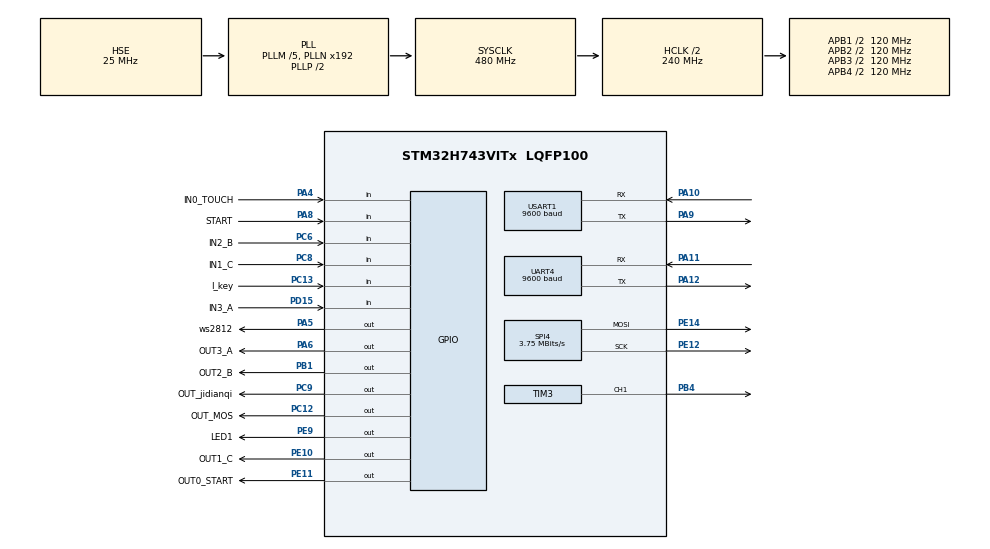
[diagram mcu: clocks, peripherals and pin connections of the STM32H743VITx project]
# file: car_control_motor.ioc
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CORTEX_M7.default_mode_Activation=1
Dma.Request0=USART1_RX
Dma.Request1=USART1_TX
Dma.Request2=SPI4_TX
Dma.Request3=UART4_RX
Dma.Request4=UART4_TX
Dma.SPI4_TX.2.Direction=DMA_MEMORY_TO_PERIPH
Dma.SPI4_TX.2.EventEnable=DISABLE
Dma.SPI4_TX.2.FIFOMode=DMA_FIFOMODE_DISABLE
Dma.SPI4_TX.2.Instance=DMA1_Stream2
Dma.SPI4_TX.2.MemDataAlignment=DMA_MDATAALIGN_BYTE
Dma.SPI4_TX.2.MemInc=DMA_MINC_ENABLE
Dma.SPI4_TX.2.Mode=DMA_NORMAL
Dma.SPI4_TX.2.PeriphDataAlignment=DMA_PDATAALIGN_BYTE
Dma.SPI4_TX.2.PeriphInc=DMA_PINC_DISABLE
Dma.SPI4_TX.2.Polarity=HAL_DMAMUX_REQ_GEN_RISING
Dma.SPI4_TX.2.Priority=DMA_PRIORITY_VERY_HIGH
Dma.SPI4_TX.2.RequestNumber=1
Dma.SPI4_TX.2.SignalID=NONE
Dma.SPI4_TX.2.SyncEnable=DISABLE
Dma.SPI4_TX.2.SyncPolarity=HAL_DMAMUX_SYNC_NO_EVENT
Dma.SPI4_TX.2.SyncRequestNumber=1
Dma.SPI4_TX.2.SyncSignalID=NONE
Dma.UART4_RX.3.Direction=DMA_PERIPH_TO_MEMORY
Dma.UART4_RX.3.EventEnable=DISABLE
Dma.UART4_RX.3.FIFOMode=DMA_FIFOMODE_DISABLE
Dma.UART4_RX.3.Instance=DMA1_Stream3
Dma.UART4_RX.3.MemDataAlignment=DMA_MDATAALIGN_BYTE
Dma.UART4_RX.3.MemInc=DMA_MINC_ENABLE
Dma.UART4_RX.3.Mode=DMA_NORMAL
Dma.UART4_RX.3.PeriphDataAlignment=DMA_PDATAALIGN_BYTE
Dma.UART4_RX.3.PeriphInc=DMA_PINC_DISABLE
Dma.UART4_RX.3.Polarity=HAL_DMAMUX_REQ_GEN_RISING
Dma.UART4_RX.3.Priority=DMA_PRIORITY_LOW
Dma.UART4_RX.3.RequestNumber=1
Dma.UART4_RX.3.SignalID=NONE
Dma.UART4_RX.3.SyncEnable=DISABLE
Dma.UART4_RX.3.SyncPolarity=HAL_DMAMUX_SYNC_NO_EVENT
Dma.UART4_RX.3.SyncRequestNumber=1
Dma.UART4_RX.3.SyncSignalID=NONE
Dma.UART4_TX.4.Direction=DMA_MEMORY_TO_PERIPH
Dma.UART4_TX.4.EventEnable=DISABLE
Dma.UART4_TX.4.FIFOMode=DMA_FIFOMODE_DISABLE
Dma.UART4_TX.4.Instance=DMA1_Stream4
Dma.UART4_TX.4.MemDataAlignment=DMA_MDATAALIGN_BYTE
Dma.UART4_TX.4.MemInc=DMA_MINC_ENABLE
Dma.UART4_TX.4.Mode=DMA_NORMAL
Dma.UART4_TX.4.PeriphDataAlignment=DMA_PDATAALIGN_BYTE
Dma.UART4_TX.4.PeriphInc=DMA_PINC_DISABLE
Dma.UART4_TX.4.Polarity=HAL_DMAMUX_REQ_GEN_RISING
Dma.UART4_TX.4.Priority=DMA_PRIORITY_LOW
Dma.UART4_TX.4.RequestNumber=1
Dma.UART4_TX.4.SignalID=NONE
Dma.UART4_TX.4.SyncEnable=DISABLE
Dma.UART4_TX.4.SyncPolarity=HAL_DMAMUX_SYNC_NO_EVENT
Dma.UART4_TX.4.SyncRequestNumber=1
Dma.UART4_TX.4.SyncSignalID=NONE
Dma.USART1_RX.0.Direction=DMA_PERIPH_TO_MEMORY
Dma.USART1_RX.0.EventEnable=DISABLE
Dma.USART1_RX.0.FIFOMode=DMA_FIFOMODE_DISABLE
Dma.USART1_RX.0.Instance=DMA1_Stream0
Dma.USART1_RX.0.MemDataAlignment=DMA_MDATAALIGN_BYTE
Dma.USART1_RX.0.MemInc=DMA_MINC_ENABLE
Dma.USART1_RX.0.Mode=DMA_NORMAL
Dma.USART1_RX.0.PeriphDataAlignment=DMA_PDATAALIGN_BYTE
Dma.USART1_RX.0.PeriphInc=DMA_PINC_DISABLE
Dma.USART1_RX.0.Polarity=HAL_DMAMUX_REQ_GEN_RISING
Dma.USART1_RX.0.Priority=DMA_PRIORITY_LOW
Dma.USART1_RX.0.RequestNumber=1
Dma.USART1_RX.0.SignalID=NONE
Dma.USART1_RX.0.SyncEnable=DISABLE
Dma.USART1_RX.0.SyncPolarity=HAL_DMAMUX_SYNC_NO_EVENT
Dma.USART1_RX.0.SyncRequestNumber=1
Dma.USART1_RX.0.SyncSignalID=NONE
Dma.USART1_TX.1.Direction=DMA_MEMORY_TO_PERIPH
Dma.USART1_TX.1.EventEnable=DISABLE
Dma.USART1_TX.1.FIFOMode=DMA_FIFOMODE_DISABLE
Dma.USART1_TX.1.Instance=DMA1_Stream1
Dma.USART1_TX.1.MemDataAlignment=DMA_MDATAALIGN_BYTE
Dma.USART1_TX.1.MemInc=DMA_MINC_ENABLE
Dma.USART1_TX.1.Mode=DMA_NORMAL
Dma.USART1_TX.1.PeriphDataAlignment=DMA_PDATAALIGN_BYTE
Dma.USART1_TX.1.PeriphInc=DMA_PINC_DISABLE
Dma.USART1_TX.1.Polarity=HAL_DMAMUX_REQ_GEN_RISING
Dma.USART1_TX.1.Priority=DMA_PRIORITY_LOW
Dma.USART1_TX.1.RequestNumber=1
Dma.USART1_TX.1.SignalID=NONE
Dma.USART1_TX.1.SyncEnable=DISABLE
Dma.USART1_TX.1.SyncPolarity=HAL_DMAMUX_SYNC_NO_EVENT
Dma.USART1_TX.1.SyncRequestNumber=1
Dma.USART1_TX.1.SyncSignalID=NONE
Mcu.Family=STM32H7
Mcu.Name=STM32H743VITx
Mcu.Package=LQFP100
NVIC.DMA1_Stream0_IRQn=true\:0\:0\:false\:false\:true\:false\:true\:true
NVIC.DMA1_Stream1_IRQn=true\:0\:0\:false\:false\:true\:false\:true\:true
NVIC.DMA1_Stream2_IRQn=true\:0\:0\:false\:false\:true\:false\:true\:true
NVIC.DMA1_Stream3_IRQn=true\:0\:0\:false\:false\:true\:false\:true\:true
NVIC.DMA1_Stream4_IRQn=true\:0\:0\:false\:false\:true\:false\:true\:true
NVIC.PriorityGroup=NVIC_PRIORITYGROUP_4
NVIC.SPI4_IRQn=true\:0\:0\:false\:false\:true\:false\:true\:true
NVIC.UART4_IRQn=true\:0\:0\:false\:false\:true\:true\:true\:true
NVIC.USART1_IRQn=true\:0\:0\:false\:false\:true\:true\:true\:true
PA10.Mode=Asynchronous
PA10.Signal=USART1_RX
PA11.Mode=Asynchronous
PA11.Signal=UART4_RX
PA12.Mode=Asynchronous
PA12.Signal=UART4_TX
PA13\ (JTMS/SWDIO).Mode=Serial_Wire
PA13\ (JTMS/SWDIO).Signal=DEBUG_JTMS-SWDIO
PA14\ (JTCK/SWCLK).Mode=Serial_Wire
PA14\ (JTCK/SWCLK).Signal=DEBUG_JTCK-SWCLK
PA5.GPIO_Label=ws2812
PA5.GPIO_PuPd=GPIO_PULLDOWN
PA5.PinState=GPIO_PIN_RESET
PA5.Signal=GPIO_Output
PA6.GPIO_Label=OUT3_A
PA6.GPIO_PuPd=GPIO_PULLDOWN
PA6.Signal=GPIO_Output
PA8.GPIO_Label=START
PA8.GPIO_PuPd=GPIO_PULLUP
PA8.Signal=GPIO_Input
PA9.Mode=Asynchronous
PA9.Signal=USART1_TX
PB1.GPIO_Label=OUT2_B
PB1.GPIO_PuPd=GPIO_PULLDOWN
PB1.Signal=GPIO_Output
PB4\ (NJTRST).Signal=S_TIM3_CH1
PC12.GPIO_Label=OUT_MOS
PC12.GPIO_PuPd=GPIO_PULLDOWN
PC12.Signal=GPIO_Output
PC13.GPIO_Label=l_key
PC13.GPIO_PuPd=GPIO_PULLUP
PC13.Signal=GPIO_Input
PC14-OSC32_IN\ (OSC32_IN).Mode=LSE-External-Oscillator
PC14-OSC32_IN\ (OSC32_IN).Signal=RCC_OSC32_IN
PC15-OSC32_OUT\ (OSC32_OUT).Mode=LSE-External-Oscillator
PC15-OSC32_OUT\ (OSC32_OUT).Signal=RCC_OSC32_OUT
PC6.GPIO_Label=IN2_B
PC6.GPIO_PuPd=GPIO_PULLUP
PC6.Signal=GPIO_Input
PA4.GPIO_Label=IN0_TOUCH
PA4.GPIO_PuPd=GPIO_PULLUP
PA4.Signal=GPIO_Input
PC8.GPIO_Label=IN1_C
PC8.GPIO_PuPd=GPIO_PULLUP
PC8.Signal=GPIO_Input
PC9.GPIO_Label=OUT_jidianqi
PC9.GPIO_PuPd=GPIO_PULLDOWN
PC9.Signal=GPIO_Output
PD15.GPIO_Label=IN3_A
PD15.GPIO_PuPd=GPIO_PULLUP
PD15.Signal=GPIO_Input
PE10.GPIO_Label=OUT1_C
PE10.GPIO_PuPd=GPIO_PULLDOWN
PE10.Signal=GPIO_Output
PE11.GPIO_Label=OUT0_START
PE11.GPIO_PuPd=GPIO_PULLDOWN
PE11.Signal=GPIO_Output
PE12.Mode=TX_Only_Simplex_Unidirect_Master
PE12.Signal=SPI4_SCK
PE14.GPIO_PuPd=GPIO_PULLUP
PE14.Mode=TX_Only_Simplex_Unidirect_Master
PE14.Signal=SPI4_MOSI
PE9.GPIO_Label=LED1
PE9.GPIO_PuPd=GPIO_PULLDOWN
PE9.Signal=GPIO_Output
PH0-OSC_IN\ (PH0).Mode=HSE-External-Oscillator
PH0-OSC_IN\ (PH0).Signal=RCC_OSC_IN
PH1-OSC_OUT\ (PH1).Mode=HSE-External-Oscillator
PH1-OSC_OUT\ (PH1).Signal=RCC_OSC_OUT
ProjectManager.HeapSize=0x200
ProjectManager.StackSize=0x400
ProjectManager.TargetToolchain=MDK-ARM V5.32
RCC.ADCFreq_Value=134722222.22222224
RCC.APB1Freq_Value=120000000
RCC.APB2Freq_Value=120000000
RCC.APB3Freq_Value=120000000
RCC.APB4Freq_Value=120000000
RCC.CortexFreq_Value=480000000
RCC.D1PPRE=RCC_APB3_DIV2
RCC.D2PPRE1=RCC_APB1_DIV2
RCC.D2PPRE2=RCC_APB2_DIV2
RCC.D3PPRE=RCC_APB4_DIV2
RCC.DIVM1=5
RCC.DIVM2=9
RCC.DIVN1=192
RCC.DIVN2=97
RCC.HCLKFreq_Value=240000000
RCC.HPRE=RCC_HCLK_DIV2
RCC.HSE_VALUE=25000000
RCC.PLL2FRACN=0
RCC.PLL3FRACN=0
RCC.PLLFRACN=0
RCC.PLLSourceVirtual=RCC_PLLSOURCE_HSE
RCC.SPI123CLockSelection=RCC_SPI123CLKSOURCE_PLL2
RCC.SYSCLKFreq_VALUE=480000000
RCC.SYSCLKSource=RCC_SYSCLKSOURCE_PLLCLK
RCC.USBFreq_Value=480000000
SH.S_TIM3_CH1.0=TIM3_CH1,PWM Generation1 CH1
SPI4.BaudRatePrescaler=SPI_BAUDRATEPRESCALER_32
SPI4.CalculateBaudRate=3.75 MBits/s
SPI4.DataSize=SPI_DATASIZE_8BIT
SPI4.Direction=SPI_DIRECTION_2LINES_TXONLY
SPI4.Mode=SPI_MODE_MASTER
SPI4.NSSPMode=SPI_NSS_PULSE_DISABLE
SPI4.VirtualType=VM_MASTER
TIM3.Channel-PWM\ Generation1\ CH1=TIM_CHANNEL_1
TIM3.Period=300-1
TIM8.AutoReloadPreload=TIM_AUTORELOAD_PRELOAD_ENABLE
TIM8.Period=239
UART4.BaudRate=9600
USART1.BaudRate=9600
USART1.VirtualMode-Asynchronous=VM_ASYNC
VP_MEMORYMAP_VS_MEMORYMAP.Mode=CurAppReg
VP_TIM3_VS_ClockSourceINT.Mode=Internal
VP_TIM8_VS_ClockSourceINT.Mode=Internal
board=custom

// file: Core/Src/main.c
/* USER CODE BEGIN Header */
/**
  ******************************************************************************
  * @file           : main.c
  * @brief          : Main program body
  ******************************************************************************
  * @attention
  *
  * Copyright (c) 2026 STMicroelectronics.
  * All rights reserved.
  *
  * This software is licensed under terms that can be found in the LICENSE file
  * in the root directory of this software component.
  * If no LICENSE file comes with this software, it is provided AS-IS.
  *
  ******************************************************************************
  */
/* USER CODE END Header */
#include "main.h"
#include "dma.h"
#include "spi.h"
#include "tim.h"
#include "usart.h"
#include "gpio.h"

/* USER CODE BEGIN Includes */
#include <stdio.h>
#include <string.h>
#include "relay.h"
#include "modbus_rtu.h"
#include "di.h"
#include "ctl.h"
#include "led.h"
#include "ws2812.h"
/* USER CODE END Includes */

/* USER CODE BEGIN PD */
/* WS2812 灯带相关参数/驱动/颜色宏已全部迁移至灯效模块：
 *   - 输出后端(SPI/GPIO/PWM)与时序参数 -> ws2812_port.h / ws2812_port.c
 *   - 灯效(常灭/常亮/闪烁/流水/呼吸)   -> ws2812.h / ws2812.c
 * 更换输出 IO 只需改 ws2812_port.h 的 WS_PORT_USE 宏，main.c 无需改动 */
/* USER CODE END PD */

/* USER CODE BEGIN PV */
/* ---- LED1 心跳指示（主循环存活指示） --------------------------------------
 * LED1(PE9) 每 1s 短闪一次，表示主循环正在运行；不做其它含义。
 * 由 main 的 while(1) 循环推进：程序卡死时闪烁停止(定格亮或灭)，一眼可辨。
 * ------------------------------------------------------------------------ */
#define HB_LED_TICK_PERIOD_MS   1000u   /* 心跳周期(ms) */
#define HB_LED_TICK_ON_MS        100u   /* 每次短闪点亮时长(ms) */

static void    hb_led_write(uint8_t on);
static void    hb_led_task(void);

/* USER CODE END PV */

void SystemClock_Config(void);
static void MPU_Config(void);

/* USER CODE BEGIN 0 */
/**
  * @brief  按 LED 有效电平写 LED1(PE9) 引脚
  * @note   LED_ACTIVE_HIGH 定义在 led.h（1=高电平点亮）
  */
static void hb_led_write(uint8_t on)
{
#if LED_ACTIVE_HIGH
  HAL_GPIO_WritePin(LED1_GPIO_Port, LED1_Pin, on ? GPIO_PIN_SET : GPIO_PIN_RESET);
#else
  HAL_GPIO_WritePin(LED1_GPIO_Port, LED1_Pin, on ? GPIO_PIN_RESET : GPIO_PIN_SET);
#endif
}

/**
  * @brief  主循环心跳：LED1 短闪表示"程序在跑"
  * @note   必须在 while(1) 循环体内周期调用：1Hz 短闪(点亮 HB_LED_TICK_ON_MS)；
  *         程序卡死时闪烁停止(LED1 定格亮或灭)，不闪即说明主循环没跑到这里。
  */
static void hb_led_task(void)
{
  static uint32_t s_t_toggle;   /* 上次状态切换时刻(ms tick) */
  static uint8_t  s_on;         /* 当前相位：1=点亮 */
  uint32_t now = HAL_GetTick();

  if (s_on)
  {
    if ((now - s_t_toggle) >= HB_LED_TICK_ON_MS)
    {
      s_on       = 0u;
      s_t_toggle = now;
    }
  }
  else if ((now - s_t_toggle) >= (HB_LED_TICK_PERIOD_MS - HB_LED_TICK_ON_MS))
  {
    s_on       = 1u;
    s_t_toggle = now;
  }

  hb_led_write(s_on);   /* 每轮都写：被其它代码误点亮也会在下一轮立刻纠正 */
}
/* 应用层不持有任何业务状态：输入在 di.c，输出策略在 ctl.c，见各模块头文件 */
/* USER CODE END 0 */

int main(void)
{

  /* MPU Configuration--------------------------------------------------------*/
  MPU_Config();

  /* MCU Configuration--------------------------------------------------------*/

  /* Reset of all peripherals, Initializes the Flash interface and the Systick. */
  HAL_Init();

  /* Configure the system clock */
  SystemClock_Config();

  /* Initialize all configured peripherals */
  MX_GPIO_Init();
  MX_DMA_Init();
  MX_USART1_UART_Init();
  MX_UART4_Init();
  MX_SPI4_Init();
  MX_TIM8_Init();
  MX_TIM3_Init();
  /* USER CODE BEGIN 2 */
  relay_init();
  modbus_init();
  di_init();
  ctl_init();
  led_init();
  ws2812_init();   /* WS2812 灯效引擎 + 输出后端初始化（上电默认 160 灯红色常亮） */
  /* USER CODE END 2 */

  /* Infinite loop */
  while (1)
  {

    /* USER CODE BEGIN 3 */
#if ENABLE_USART1_DBG_PRINTF
    printf("cod started\n");
#endif

	 di_scan();   /* 五路输入采样+防抖(Modbus 寄存器/联动逻辑的数据源) */

	 ctl_task();  /* 输出逻辑：按键联动(IN->OUT 电平跟随) + 电源锁存(START 开 MOS) */

	if(1== modbus_task())   /* 上位机"关电"指令(写线圈0=0x0000)，断电已由 ctl 锁存生效 */
    {
			HAL_GPIO_WritePin(LED1_GPIO_Port,LED1_Pin,GPIO_PIN_SET);  /* 点亮断电指示灯 */
		}

		ws2812_task();   /* WS2812 灯效引擎：常灭/常亮/闪烁/流水/呼吸（配置经 Modbus 寄存器推送） */

		hb_led_task();   /* LED1 心跳：主循环存活指示(卡死则停止短闪) */

  }
  /* USER CODE END 3 */
}

void SystemClock_Config(void)
{
  RCC_OscInitTypeDef RCC_OscInitStruct = {0};
  RCC_ClkInitTypeDef RCC_ClkInitStruct = {0};

  /** Supply configuration update enable
  */
  HAL_PWREx_ConfigSupply(PWR_LDO_SUPPLY);

  /** Configure the main internal regulator output voltage
  */
  __HAL_PWR_VOLTAGESCALING_CONFIG(PWR_REGULATOR_VOLTAGE_SCALE0);

  while(!__HAL_PWR_GET_FLAG(PWR_FLAG_VOSRDY)) {}

  /** Initializes the RCC Oscillators according to the specified parameters
  * in the RCC_OscInitTypeDef structure.
  */
  RCC_OscInitStruct.OscillatorType = RCC_OSCILLATORTYPE_HSE;
  RCC_OscInitStruct.HSEState = RCC_HSE_ON;
  RCC_OscInitStruct.PLL.PLLState = RCC_PLL_ON;
  RCC_OscInitStruct.PLL.PLLSource = RCC_PLLSOURCE_HSE;
  RCC_OscInitStruct.PLL.PLLM = 5;
  RCC_OscInitStruct.PLL.PLLN = 192;
  RCC_OscInitStruct.PLL.PLLP = 2;
  RCC_OscInitStruct.PLL.PLLQ = 2;
  RCC_OscInitStruct.PLL.PLLR = 2;
  RCC_OscInitStruct.PLL.PLLRGE = RCC_PLL1VCIRANGE_2;
  RCC_OscInitStruct.PLL.PLLVCOSEL = RCC_PLL1VCOWIDE;
  RCC_OscInitStruct.PLL.PLLFRACN = 0;
  if (HAL_RCC_OscConfig(&RCC_OscInitStruct) != HAL_OK)
  {
    Error_Handler();
  }

  /** Initializes the CPU, AHB and APB buses clocks
  */
  RCC_ClkInitStruct.ClockType = RCC_CLOCKTYPE_HCLK|RCC_CLOCKTYPE_SYSCLK
                              |RCC_CLOCKTYPE_PCLK1|RCC_CLOCKTYPE_PCLK2
                              |RCC_CLOCKTYPE_D3PCLK1|RCC_CLOCKTYPE_D1PCLK1;
  RCC_ClkInitStruct.SYSCLKSource = RCC_SYSCLKSOURCE_PLLCLK;
  RCC_ClkInitStruct.SYSCLKDivider = RCC_SYSCLK_DIV1;
  RCC_ClkInitStruct.AHBCLKDivider = RCC_HCLK_DIV2;
  RCC_ClkInitStruct.APB3CLKDivider = RCC_APB3_DIV2;
  RCC_ClkInitStruct.APB1CLKDivider = RCC_APB1_DIV2;
  RCC_ClkInitStruct.APB2CLKDivider = RCC_APB2_DIV2;
  RCC_ClkInitStruct.APB4CLKDivider = RCC_APB4_DIV2;

  if (HAL_RCC_ClockConfig(&RCC_ClkInitStruct, FLASH_LATENCY_4) != HAL_OK)
  {
    Error_Handler();
  }
}

 /* MPU Configuration */

void MPU_Config(void)
{
  MPU_Region_InitTypeDef MPU_InitStruct = {0};

  /* Disables the MPU */
  HAL_MPU_Disable();

  /** Initializes and configures the Region and the memory to be protected
  */
  MPU_InitStruct.Enable = MPU_REGION_ENABLE;
  MPU_InitStruct.Number = MPU_REGION_NUMBER0;
  MPU_InitStruct.BaseAddress = 0x0;
  MPU_InitStruct.Size = MPU_REGION_SIZE_4GB;
  MPU_InitStruct.SubRegionDisable = 0x87;
  MPU_InitStruct.TypeExtField = MPU_TEX_LEVEL0;
  MPU_InitStruct.AccessPermission = MPU_REGION_NO_ACCESS;
  MPU_InitStruct.DisableExec = MPU_INSTRUCTION_ACCESS_DISABLE;
  MPU_InitStruct.IsShareable = MPU_ACCESS_SHAREABLE;
  MPU_InitStruct.IsCacheable = MPU_ACCESS_NOT_CACHEABLE;
  MPU_InitStruct.IsBufferable = MPU_ACCESS_NOT_BUFFERABLE;

  HAL_MPU_ConfigRegion(&MPU_InitStruct);
  /* Enables the MPU */
  HAL_MPU_Enable(MPU_PRIVILEGED_DEFAULT);

}

void Error_Handler(void)
{
  __disable_irq();
  while (1)
  {
  }
}
